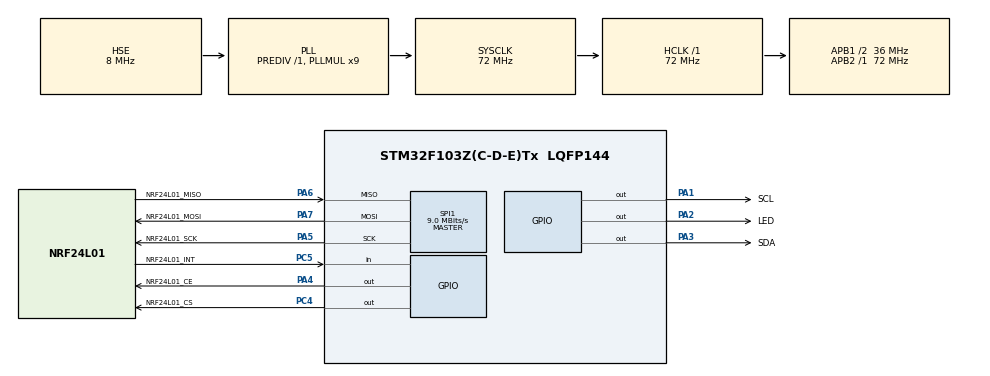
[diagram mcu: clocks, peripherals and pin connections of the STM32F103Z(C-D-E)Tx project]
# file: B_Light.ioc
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Mcu.Family=STM32F1
Mcu.Name=STM32F103Z(C-D-E)Tx
Mcu.Package=LQFP144
NVIC.PriorityGroup=NVIC_PRIORITYGROUP_4
OSC_IN.Mode=HSE-External-Oscillator
OSC_IN.Signal=RCC_OSC_IN
OSC_OUT.Mode=HSE-External-Oscillator
OSC_OUT.Signal=RCC_OSC_OUT
PA1.GPIO_Label=SCL
PA1.GPIO_ModeDefaultOutputPP=GPIO_MODE_OUTPUT_OD
PA1.GPIO_Speed=GPIO_SPEED_FREQ_HIGH
PA1.PinState=GPIO_PIN_SET
PA1.Signal=GPIO_Output
PA13.Mode=JTAG_5_pins
PA13.Signal=SYS_JTMS-SWDIO
PA14.Mode=JTAG_5_pins
PA14.Signal=SYS_JTCK-SWCLK
PA15.Mode=JTAG_5_pins
PA15.Signal=SYS_JTDI
PA2.GPIO_Label=LED
PA2.GPIO_Speed=GPIO_SPEED_FREQ_HIGH
PA2.PinState=GPIO_PIN_SET
PA2.Signal=GPIO_Output
PA3.GPIO_Label=SDA
PA3.GPIO_ModeDefaultOutputPP=GPIO_MODE_OUTPUT_OD
PA3.GPIO_Speed=GPIO_SPEED_FREQ_HIGH
PA3.PinState=GPIO_PIN_SET
PA3.Signal=GPIO_Output
PA4.GPIO_Label=NRF24L01_CE
PA4.GPIO_Speed=GPIO_SPEED_FREQ_HIGH
PA4.PinState=GPIO_PIN_SET
PA4.Signal=GPIO_Output
PA5.GPIO_Label=NRF24L01_SCK
PA5.Mode=Full_Duplex_Master
PA5.Signal=SPI1_SCK
PA6.GPIO_Label=NRF24L01_MISO
PA6.Mode=Full_Duplex_Master
PA6.Signal=SPI1_MISO
PA7.GPIO_Label=NRF24L01_MOSI
PA7.Mode=Full_Duplex_Master
PA7.Signal=SPI1_MOSI
PB3.Mode=JTAG_5_pins
PB3.Signal=SYS_JTDO-TRACESWO
PB4.Mode=JTAG_5_pins
PB4.Signal=SYS_NJTRST
PC14-OSC32_IN.Mode=LSE-External-Oscillator
PC14-OSC32_IN.Signal=RCC_OSC32_IN
PC15-OSC32_OUT.Mode=LSE-External-Oscillator
PC15-OSC32_OUT.Signal=RCC_OSC32_OUT
PC4.GPIO_Label=NRF24L01_CS
PC4.GPIO_Speed=GPIO_SPEED_FREQ_HIGH
PC4.PinState=GPIO_PIN_SET
PC4.Signal=GPIO_Output
PC5.GPIO_Label=NRF24L01_INT
PC5.GPIO_PuPd=GPIO_PULLUP
PC5.Signal=GPIO_Input
ProjectManager.HeapSize=0x200
ProjectManager.StackSize=0x400
ProjectManager.TargetToolchain=MDK-ARM V5
RCC.AHBFreq_Value=72000000
RCC.APB1CLKDivider=RCC_HCLK_DIV2
RCC.APB1Freq_Value=36000000
RCC.APB1TimFreq_Value=72000000
RCC.APB2Freq_Value=72000000
RCC.APB2TimFreq_Value=72000000
RCC.HCLKFreq_Value=72000000
RCC.HSIState=RCC_HSI_ON
RCC.PLLMUL=RCC_PLL_MUL9
RCC.PLLSourceVirtual=RCC_PLLSOURCE_HSE
RCC.SYSCLKFreq_VALUE=72000000
RCC.SYSCLKSource=RCC_SYSCLKSOURCE_PLLCLK
RCC.USBFreq_Value=72000000
SPI1.BaudRatePrescaler=SPI_BAUDRATEPRESCALER_8
SPI1.CalculateBaudRate=9.0 MBits/s
SPI1.Mode=SPI_MODE_MASTER
board=B_Light

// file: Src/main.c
/**
  ******************************************************************************
  * File Name          : main.c
  * Description        : Main program body
  ******************************************************************************
  *
  * COPYRIGHT(c) 2016 STMicroelectronics
  *
  * Redistribution and use in source and binary forms, with or without modification,
  * are permitted provided that the following conditions are met:
  *   1. Redistributions of source code must retain the above copyright notice,
  *      this list of conditions and the following disclaimer.
  *   2. Redistributions in binary form must reproduce the above copyright notice,
  *      this list of conditions and the following disclaimer in the documentation
  *      and/or other materials provided with the distribution.
  *   3. Neither the name of STMicroelectronics nor the names of its contributors
  *      may be used to endorse or promote products derived from this software
  *      without specific prior written permission.
  *
  * THIS SOFTWARE IS PROVIDED BY THE COPYRIGHT HOLDERS AND CONTRIBUTORS "AS IS"
  * AND ANY EXPRESS OR IMPLIED WARRANTIES, INCLUDING, BUT NOT LIMITED TO, THE
  * IMPLIED WARRANTIES OF MERCHANTABILITY AND FITNESS FOR A PARTICULAR PURPOSE ARE
  * DISCLAIMED. IN NO EVENT SHALL THE COPYRIGHT HOLDER OR CONTRIBUTORS BE LIABLE
  * FOR ANY DIRECT, INDIRECT, INCIDENTAL, SPECIAL, EXEMPLARY, OR CONSEQUENTIAL
  * DAMAGES (INCLUDING, BUT NOT LIMITED TO, PROCUREMENT OF SUBSTITUTE GOODS OR
  * SERVICES; LOSS OF USE, DATA, OR PROFITS; OR BUSINESS INTERRUPTION) HOWEVER
  * CAUSED AND ON ANY THEORY OF LIABILITY, WHETHER IN CONTRACT, STRICT LIABILITY,
  * OR TORT (INCLUDING NEGLIGENCE OR OTHERWISE) ARISING IN ANY WAY OUT OF THE USE
  * OF THIS SOFTWARE, EVEN IF ADVISED OF THE POSSIBILITY OF SUCH DAMAGE.
  *
  ******************************************************************************
  */
#include "stm32f1xx_hal.h"

/* USER CODE BEGIN Includes */
#include "OLED.h"
#include "nrf24l01.h"
/* USER CODE END Includes */

SPI_HandleTypeDef hspi1;

/* USER CODE BEGIN PV */
/* Private variables ---------------------------------------------------------*/

/* USER CODE END PV */

void SystemClock_Config(void);
void Error_Handler(void);
static void MX_GPIO_Init(void);
static void MX_SPI1_Init(void);

/* USER CODE BEGIN PFP */
/* Private function prototypes -----------------------------------------------*/

/* USER CODE END PFP */

int main(void)
{

  /* USER CODE BEGIN 1 */
    uint8_t txbf[32]={10,'T','e','m','p',':','4','2','.','3','C'};
    uint8_t rxbf[32]={0};
    uint8_t CMD[32]  = {11,'G','I','V','E','M','E','T','E','M','P','.'};
    uint8_t matchFlag = 1;
  /* USER CODE END 1 */

  /* MCU Configuration----------------------------------------------------------*/

  /* Reset of all peripherals, Initializes the Flash interface and the Systick. */
  HAL_Init();

  /* Configure the system clock */
  SystemClock_Config();

  /* Initialize all configured peripherals */
  MX_GPIO_Init();
  MX_SPI1_Init();

  /* USER CODE BEGIN 2 */
    nrf24l01_init();
    OLED_Init();
    OLED_showWord(48,0,0,"System start.");
    OLED_showWord(56,0,0,"%s",&txbf[1]);
    OLED_Clear(0,7,0,127,1);
  /* USER CODE END 2 */

  /* Infinite loop */
  while (1)
  {

  /* USER CODE BEGIN 3 */
    if(NRF24L01_RxPacket(rxbf) == 0)
    {
        matchFlag = 1;
        for(uint8_t i = 0; i < 12;i++)
        {
            if(rxbf[i] != CMD[i])
            {
                matchFlag = 0;
            }
        }
        if(matchFlag)
        {
            HAL_Delay(30);
            if(NRF24L01_TxPacket(txbf) == TX_OK)
            {
                HAL_GPIO_TogglePin(LED_GPIO_Port,LED_Pin);
            }
        }
    }
    /*
        OLED_Clear(0,7,0,127,0);
        OLED_showWord(48,0,0,"%s",rxbf);
        OLED_showWord(56,0,0,"%s",&txbf[1]);
        OLED_Clear(0,7,0,127,1);*/

  }
  /* USER CODE END 3 */

}

/** System Clock Configuration
*/
void SystemClock_Config(void)
{

  RCC_OscInitTypeDef RCC_OscInitStruct;
  RCC_ClkInitTypeDef RCC_ClkInitStruct;

  RCC_OscInitStruct.OscillatorType = RCC_OSCILLATORTYPE_HSE;
  RCC_OscInitStruct.HSEState = RCC_HSE_ON;
  RCC_OscInitStruct.HSEPredivValue = RCC_HSE_PREDIV_DIV1;
  RCC_OscInitStruct.PLL.PLLState = RCC_PLL_ON;
  RCC_OscInitStruct.PLL.PLLSource = RCC_PLLSOURCE_HSE;
  RCC_OscInitStruct.PLL.PLLMUL = RCC_PLL_MUL9;
  if (HAL_RCC_OscConfig(&RCC_OscInitStruct) != HAL_OK)
  {
    Error_Handler();
  }

  RCC_ClkInitStruct.ClockType = RCC_CLOCKTYPE_HCLK|RCC_CLOCKTYPE_SYSCLK
                              |RCC_CLOCKTYPE_PCLK1|RCC_CLOCKTYPE_PCLK2;
  RCC_ClkInitStruct.SYSCLKSource = RCC_SYSCLKSOURCE_PLLCLK;
  RCC_ClkInitStruct.AHBCLKDivider = RCC_SYSCLK_DIV1;
  RCC_ClkInitStruct.APB1CLKDivider = RCC_HCLK_DIV2;
  RCC_ClkInitStruct.APB2CLKDivider = RCC_HCLK_DIV1;
  if (HAL_RCC_ClockConfig(&RCC_ClkInitStruct, FLASH_LATENCY_2) != HAL_OK)
  {
    Error_Handler();
  }

  HAL_SYSTICK_Config(HAL_RCC_GetHCLKFreq()/1000);

  HAL_SYSTICK_CLKSourceConfig(SYSTICK_CLKSOURCE_HCLK);

  /* SysTick_IRQn interrupt configuration */
  HAL_NVIC_SetPriority(SysTick_IRQn, 0, 0);
}

/* SPI1 init function */
static void MX_SPI1_Init(void)
{

  hspi1.Instance = SPI1;
  hspi1.Init.Mode = SPI_MODE_MASTER;
  hspi1.Init.Direction = SPI_DIRECTION_2LINES;
  hspi1.Init.DataSize = SPI_DATASIZE_8BIT;
  hspi1.Init.CLKPolarity = SPI_POLARITY_LOW;
  hspi1.Init.CLKPhase = SPI_PHASE_1EDGE;
  hspi1.Init.NSS = SPI_NSS_SOFT;
  hspi1.Init.BaudRatePrescaler = SPI_BAUDRATEPRESCALER_8;
  hspi1.Init.FirstBit = SPI_FIRSTBIT_MSB;
  hspi1.Init.TIMode = SPI_TIMODE_DISABLE;
  hspi1.Init.CRCCalculation = SPI_CRCCALCULATION_DISABLE;
  hspi1.Init.CRCPolynomial = 10;
  if (HAL_SPI_Init(&hspi1) != HAL_OK)
  {
    Error_Handler();
  }

}

/** Configure pins as
        * Analog
        * Input
        * Output
        * EVENT_OUT
        * EXTI
        * Free pins are configured automatically as Analog (this feature is enabled through
        * the Code Generation settings)
*/
static void MX_GPIO_Init(void)
{

  GPIO_InitTypeDef GPIO_InitStruct;

  /* GPIO Ports Clock Enable */
  __HAL_RCC_GPIOE_CLK_ENABLE();
  __HAL_RCC_GPIOC_CLK_ENABLE();
  __HAL_RCC_GPIOF_CLK_ENABLE();
  __HAL_RCC_GPIOA_CLK_ENABLE();
  __HAL_RCC_GPIOB_CLK_ENABLE();
  __HAL_RCC_GPIOG_CLK_ENABLE();
  __HAL_RCC_GPIOD_CLK_ENABLE();

  /*Configure GPIO pins : PE2 PE3 PE4 PE5
                           PE6 PE7 PE8 PE9
                           PE10 PE11 PE12 PE13
                           PE14 PE15 PE0 PE1 */
  GPIO_InitStruct.Pin = GPIO_PIN_2|GPIO_PIN_3|GPIO_PIN_4|GPIO_PIN_5
                          |GPIO_PIN_6|GPIO_PIN_7|GPIO_PIN_8|GPIO_PIN_9
                          |GPIO_PIN_10|GPIO_PIN_11|GPIO_PIN_12|GPIO_PIN_13
                          |GPIO_PIN_14|GPIO_PIN_15|GPIO_PIN_0|GPIO_PIN_1;
  GPIO_InitStruct.Mode = GPIO_MODE_ANALOG;
  HAL_GPIO_Init(GPIOE, &GPIO_InitStruct);

  /*Configure GPIO pins : PC13 PC0 PC1 PC2
                           PC3 PC6 PC7 PC8
                           PC9 PC10 PC11 PC12 */
  GPIO_InitStruct.Pin = GPIO_PIN_13|GPIO_PIN_0|GPIO_PIN_1|GPIO_PIN_2
                          |GPIO_PIN_3|GPIO_PIN_6|GPIO_PIN_7|GPIO_PIN_8
                          |GPIO_PIN_9|GPIO_PIN_10|GPIO_PIN_11|GPIO_PIN_12;
  GPIO_InitStruct.Mode = GPIO_MODE_ANALOG;
  HAL_GPIO_Init(GPIOC, &GPIO_InitStruct);

  /*Configure GPIO pins : PF0 PF1 PF2 PF3
                           PF4 PF5 PF6 PF7
                           PF8 PF9 PF10 PF11
                           PF12 PF13 PF14 PF15 */
  GPIO_InitStruct.Pin = GPIO_PIN_0|GPIO_PIN_1|GPIO_PIN_2|GPIO_PIN_3
                          |GPIO_PIN_4|GPIO_PIN_5|GPIO_PIN_6|GPIO_PIN_7
                          |GPIO_PIN_8|GPIO_PIN_9|GPIO_PIN_10|GPIO_PIN_11
                          |GPIO_PIN_12|GPIO_PIN_13|GPIO_PIN_14|GPIO_PIN_15;
  GPIO_InitStruct.Mode = GPIO_MODE_ANALOG;
  HAL_GPIO_Init(GPIOF, &GPIO_InitStruct);

  /*Configure GPIO pins : PA0 PA8 PA9 PA10
                           PA11 PA12 */
  GPIO_InitStruct.Pin = GPIO_PIN_0|GPIO_PIN_8|GPIO_PIN_9|GPIO_PIN_10
                          |GPIO_PIN_11|GPIO_PIN_12;
  GPIO_InitStruct.Mode = GPIO_MODE_ANALOG;
  HAL_GPIO_Init(GPIOA, &GPIO_InitStruct);

  /*Configure GPIO pins : SCL_Pin SDA_Pin */
  GPIO_InitStruct.Pin = SCL_Pin|SDA_Pin;
  GPIO_InitStruct.Mode = GPIO_MODE_OUTPUT_OD;
  GPIO_InitStruct.Speed = GPIO_SPEED_FREQ_HIGH;
  HAL_GPIO_Init(GPIOA, &GPIO_InitStruct);

  /*Configure GPIO pins : LED_Pin NRF24L01_CE_Pin */
  GPIO_InitStruct.Pin = LED_Pin|NRF24L01_CE_Pin;
  GPIO_InitStruct.Mode = GPIO_MODE_OUTPUT_PP;
  GPIO_InitStruct.Speed = GPIO_SPEED_FREQ_HIGH;
  HAL_GPIO_Init(GPIOA, &GPIO_InitStruct);

  /*Configure GPIO pin : NRF24L01_CS_Pin */
  GPIO_InitStruct.Pin = NRF24L01_CS_Pin;
  GPIO_InitStruct.Mode = GPIO_MODE_OUTPUT_PP;
  GPIO_InitStruct.Speed = GPIO_SPEED_FREQ_HIGH;
  HAL_GPIO_Init(NRF24L01_CS_GPIO_Port, &GPIO_InitStruct);

  /*Configure GPIO pin : NRF24L01_INT_Pin */
  GPIO_InitStruct.Pin = NRF24L01_INT_Pin;
  GPIO_InitStruct.Mode = GPIO_MODE_INPUT;
  GPIO_InitStruct.Pull = GPIO_PULLUP;
  HAL_GPIO_Init(NRF24L01_INT_GPIO_Port, &GPIO_InitStruct);

  /*Configure GPIO pins : PB0 PB1 PB2 PB10
                           PB11 PB12 PB13 PB14
                           PB15 PB5 PB6 PB7
                           PB8 PB9 */
  GPIO_InitStruct.Pin = GPIO_PIN_0|GPIO_PIN_1|GPIO_PIN_2|GPIO_PIN_10
                          |GPIO_PIN_11|GPIO_PIN_12|GPIO_PIN_13|GPIO_PIN_14
                          |GPIO_PIN_15|GPIO_PIN_5|GPIO_PIN_6|GPIO_PIN_7
                          |GPIO_PIN_8|GPIO_PIN_9;
  GPIO_InitStruct.Mode = GPIO_MODE_ANALOG;
  HAL_GPIO_Init(GPIOB, &GPIO_InitStruct);

  /*Configure GPIO pins : PG0 PG1 PG2 PG3
                           PG4 PG5 PG6 PG7
                           PG8 PG9 PG10 PG11
                           PG12 PG13 PG14 PG15 */
  GPIO_InitStruct.Pin = GPIO_PIN_0|GPIO_PIN_1|GPIO_PIN_2|GPIO_PIN_3
                          |GPIO_PIN_4|GPIO_PIN_5|GPIO_PIN_6|GPIO_PIN_7
                          |GPIO_PIN_8|GPIO_PIN_9|GPIO_PIN_10|GPIO_PIN_11
                          |GPIO_PIN_12|GPIO_PIN_13|GPIO_PIN_14|GPIO_PIN_15;
  GPIO_InitStruct.Mode = GPIO_MODE_ANALOG;
  HAL_GPIO_Init(GPIOG, &GPIO_InitStruct);

  /*Configure GPIO pins : PD8 PD9 PD10 PD11
                           PD12 PD13 PD14 PD15
                           PD0 PD1 PD2 PD3
                           PD4 PD5 PD6 PD7 */
  GPIO_InitStruct.Pin = GPIO_PIN_8|GPIO_PIN_9|GPIO_PIN_10|GPIO_PIN_11
                          |GPIO_PIN_12|GPIO_PIN_13|GPIO_PIN_14|GPIO_PIN_15
                          |GPIO_PIN_0|GPIO_PIN_1|GPIO_PIN_2|GPIO_PIN_3
                          |GPIO_PIN_4|GPIO_PIN_5|GPIO_PIN_6|GPIO_PIN_7;
  GPIO_InitStruct.Mode = GPIO_MODE_ANALOG;
  HAL_GPIO_Init(GPIOD, &GPIO_InitStruct);

  /*Configure GPIO pin Output Level */
  HAL_GPIO_WritePin(GPIOA, SCL_Pin|LED_Pin|SDA_Pin|NRF24L01_CE_Pin, GPIO_PIN_SET);

  /*Configure GPIO pin Output Level */
  HAL_GPIO_WritePin(NRF24L01_CS_GPIO_Port, NRF24L01_CS_Pin, GPIO_PIN_SET);

}

void Error_Handler(void)
{
  while(1)
  {
  }
}

/************************ (C) COPYRIGHT STMicroelectronics *****END OF FILE****/
